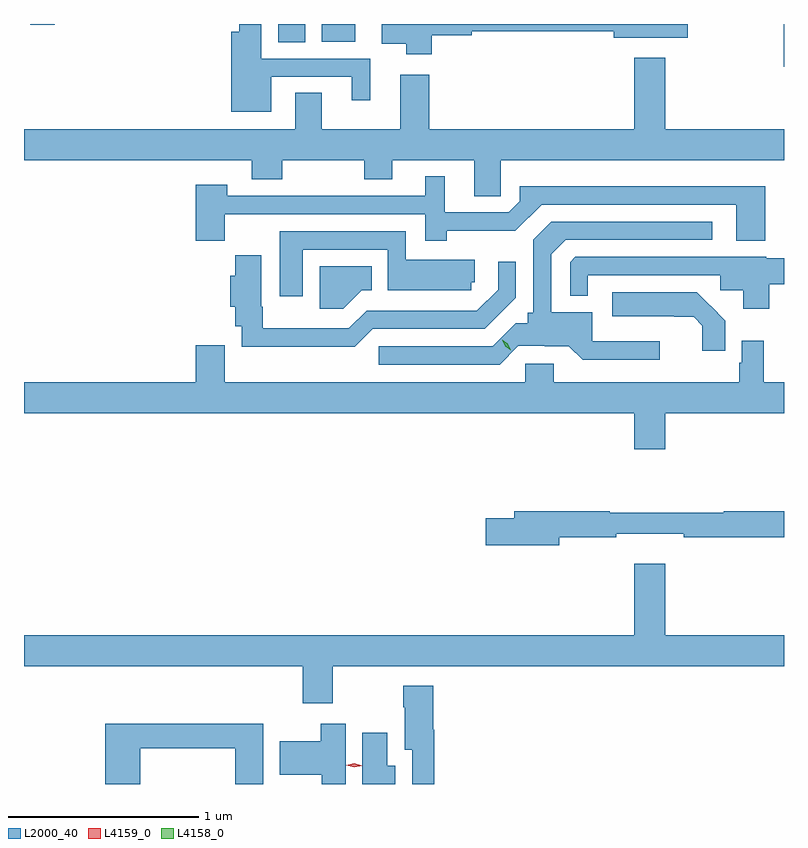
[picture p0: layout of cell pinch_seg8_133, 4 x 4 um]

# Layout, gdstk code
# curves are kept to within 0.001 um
import gdstk
lib = gdstk.Library(unit=1e-6, precision=1e-09)
def R(c, l, rs):  # rectangles x0, y0, x1, y1
    for r in rs: c.add(gdstk.rectangle(r[:2], r[2:], *l))
def P(c, l, *ps):  # polygons
    for p in ps: c.add(gdstk.Polygon(p, *l))
L2000_40 = (2000, 40)
L4158_0 = (4158, 0)
L4159_0 = (4159, 0)

pinch_seg8_133 = lib.new_cell('pinch_seg8_133')
R(pinch_seg8_133, L2000_40, [(861.098,1154.288,861.1,1154.513), (858.437,1154.416,858.58,1154.513), (858.668,1154.42,858.844,1154.513), (857.133,1154.51,857.263,1154.513)])
P(pinch_seg8_133, L2000_40, [(859.247,1154.453),(859.456,1154.453),(859.456,1154.476),(860.204,1154.476),(860.204,1154.441),(860.593,1154.441),(860.593,1154.513),(858.983,1154.513),(858.983,1154.408),(859.112,1154.408),(859.112,1154.354),(859.247,1154.354)],
  [(858.4,1154.235),(858.824,1154.235),(858.824,1154.112),(858.922,1154.112),(858.922,1154.331),(858.348,1154.331),(858.348,1154.513),(858.232,1154.513),(858.232,1154.473),(858.191,1154.473),(858.191,1154.051),(858.4,1154.051)],
  [(859.608,1153.796),(861.1,1153.796),(861.1,1153.96),(860.476,1153.96),(860.476,1154.335),(860.312,1154.335),(860.312,1153.96),(859.232,1153.96),(859.232,1154.245),(859.079,1154.245),(859.079,1153.96),(858.667,1153.96),(858.667,1154.15),(858.527,1154.15),(858.527,1153.96),(857.1,1153.96),(857.1,1153.796),(858.299,1153.796),(858.299,1153.697),(858.459,1153.697),(858.459,1153.796),(858.892,1153.796),(858.892,1153.697),(859.039,1153.697),(859.039,1153.796),(859.469,1153.796),(859.469,1153.606),(859.608,1153.606)],
  [(858.157,1153.512),(859.211,1153.512),(859.211,1153.371),(859.325,1153.371),(859.325,1153.424),(859.685,1153.424),(859.824,1153.563),(860.849,1153.563),(860.849,1153.373),(861.002,1153.373),(861.002,1153.66),(859.708,1153.66),(859.708,1153.579),(859.65,1153.521),(859.315,1153.521),(859.315,1153.711),(859.211,1153.711),(859.211,1153.608),(858.803,1153.608),(858.803,1153.61),(858.547,1153.61),(858.547,1153.608),(858.17,1153.608),(858.17,1153.666),(858.005,1153.666),(858.005,1153.371),(858.157,1153.371)],
  [(859.702,1152.819),(859.968,1152.818),(860.04,1152.746),(860.446,1152.746),(860.446,1152.844),(860.091,1152.844),(860.091,1152.997),(859.875,1152.997),(859.875,1153.301),(859.951,1153.377),(860.722,1153.377),(860.722,1153.473),(859.875,1153.473),(859.779,1153.377),(859.779,1152.993),(859.752,1152.993),(859.752,1152.939),(859.689,1152.939),(859.566,1152.816),(858.966,1152.816),(858.966,1152.72),(859.603,1152.72)],
  [(858.568,1153.326),(859.014,1153.326),(859.014,1153.112),(859.454,1153.112),(859.454,1153.155),(859.473,1153.155),(859.473,1153.273),(859.11,1153.273),(859.11,1153.422),(858.446,1153.422),(858.446,1153.08),(858.568,1153.08)],
  [(858.936,1152.909),(859.525,1152.909),(859.689,1153.073),(859.689,1153.261),(859.595,1153.261),(859.595,1153.115),(859.483,1153.003),(859.382,1153.003),(859.382,1153.005),(858.903,1153.005),(858.81,1152.912),(858.356,1152.913),(858.356,1153.026),(858.349,1153.026),(858.349,1153.297),(858.212,1153.297),(858.212,1153.188),(858.185,1153.188),(858.185,1153.026),(858.212,1153.026),(858.212,1152.921),(858.245,1152.921),(858.245,1152.815),(858.842,1152.815)],
  [(861.023,1153.144),(861.1,1153.144),(861.1,1153.28),(861.006,1153.28),(861.006,1153.287),(860.001,1153.287),(859.974,1153.26),(859.974,1153.082),(860.068,1153.082),(860.068,1153.191),(860.765,1153.191),(860.765,1153.113),(860.885,1153.113),(860.885,1153.014),(861.023,1153.014)],
  [(858.878,1153.112),(858.929,1153.112),(858.929,1153.237),(858.656,1153.237),(858.656,1153.014),(858.779,1153.014)],
  [(860.792,1152.952),(860.715,1153.029),(860.714,1153.028),(860.64,1153.102),(860.196,1153.102),(860.196,1152.974),(860.522,1152.974),(860.522,1152.971),(860.624,1152.971),(860.67,1152.924),(860.67,1152.792),(860.792,1152.792)],
  [(860.476,1152.464),(861.1,1152.464),(861.1,1152.628),(860.993,1152.628),(860.993,1152.847),(860.877,1152.847),(860.877,1152.729),(860.865,1152.729),(860.865,1152.628),(859.889,1152.628),(859.889,1152.726),(859.737,1152.726),(859.737,1152.628),(858.157,1152.628),(858.157,1152.823),(858.005,1152.823),(858.005,1152.628),(857.1,1152.628),(857.1,1152.464),(860.312,1152.464),(860.312,1152.276),(860.476,1152.276)],
  [(859.918,1151.812),(860.216,1151.812),(860.216,1151.831),(860.572,1151.831),(860.572,1151.812),(861.1,1151.812),(861.1,1151.948),(860.783,1151.948),(860.783,1151.941),(860.183,1151.941),(860.183,1151.948),(859.679,1151.948),(859.679,1151.912),(859.53,1151.912),(859.53,1151.77),(859.918,1151.77)],
  [(858.726,1151.132),(861.1,1151.132),(861.1,1151.296),(860.476,1151.296),(860.476,1151.671),(860.312,1151.671),(860.312,1151.296),(857.1,1151.296),(857.1,1151.132),(858.566,1151.132),(858.566,1150.938),(858.726,1150.938)],
  [(859.259,1150.798),(859.253,1150.798),(859.253,1151.029),(859.096,1151.029),(859.096,1150.916),(859.103,1150.916),(859.103,1150.694),(859.143,1150.694),(859.143,1150.513),(859.259,1150.513)],
  [(857.711,1150.702),(858.212,1150.702),(858.212,1150.513),(858.358,1150.513),(858.358,1150.831),(857.528,1150.831),(857.528,1150.513),(857.711,1150.513)],
  [(858.793,1150.831),(858.661,1150.831),(858.661,1150.738),(858.446,1150.738),(858.446,1150.562),(858.668,1150.562),(858.668,1150.513),(858.793,1150.513)],
  [(859.054,1150.609),(859.012,1150.609),(859.012,1150.783),(858.881,1150.783),(858.881,1150.513),(859.054,1150.513)])
P(pinch_seg8_133, L4158_0, [(859.662,1152.796),(859.632,1152.816),(859.616,1152.849),(859.616,1152.85),(859.616,1152.85),(859.647,1152.829),(859.662,1152.796),(859.662,1152.796)])
P(pinch_seg8_133, L4159_0, [(858.838,1150.601),(858.797,1150.612),(858.797,1150.612),(858.797,1150.613),(858.838,1150.621),(858.879,1150.61),(858.879,1150.61),(858.879,1150.61)])

lib.write_gds('pinch_seg8_133.gds')
